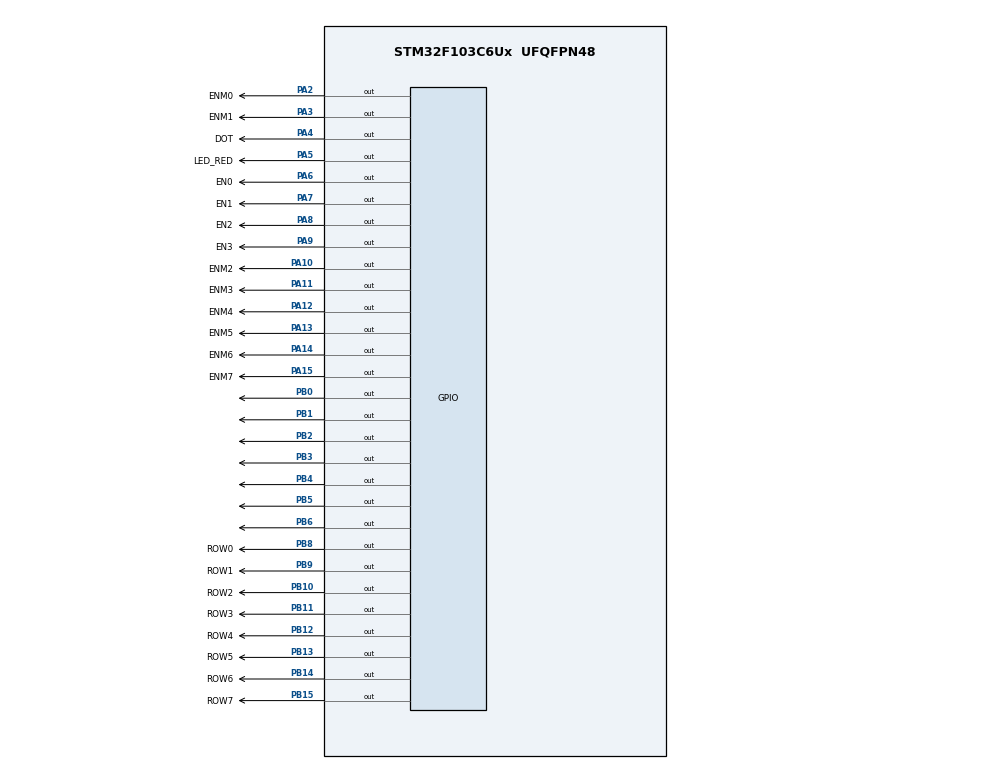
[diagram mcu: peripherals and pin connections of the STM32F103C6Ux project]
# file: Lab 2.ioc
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Mcu.Family=STM32F1
Mcu.Name=STM32F103C6Ux
Mcu.Package=UFQFPN48
NVIC.PriorityGroup=NVIC_PRIORITYGROUP_4
NVIC.TIM2_IRQn=true\:0\:0\:false\:false\:true\:true\:true\:true
PA10.GPIO_Label=ENM2
PA10.Signal=GPIO_Output
PA11.GPIO_Label=ENM3
PA11.Signal=GPIO_Output
PA12.GPIO_Label=ENM4
PA12.Signal=GPIO_Output
PA13.GPIO_Label=ENM5
PA13.Signal=GPIO_Output
PA14.GPIO_Label=ENM6
PA14.Signal=GPIO_Output
PA15.GPIO_Label=ENM7
PA15.Signal=GPIO_Output
PA2.GPIO_Label=ENM0
PA2.Signal=GPIO_Output
PA3.GPIO_Label=ENM1
PA3.Signal=GPIO_Output
PA4.GPIO_Label=DOT
PA4.Signal=GPIO_Output
PA5.GPIO_Label=LED_RED
PA5.Signal=GPIO_Output
PA6.GPIO_Label=EN0
PA6.Signal=GPIO_Output
PA7.GPIO_Label=EN1
PA7.Signal=GPIO_Output
PA8.GPIO_Label=EN2
PA8.Signal=GPIO_Output
PA9.GPIO_Label=EN3
PA9.Signal=GPIO_Output
PB0.Signal=GPIO_Output
PB1.Signal=GPIO_Output
PB10.GPIO_Label=ROW2
PB10.Signal=GPIO_Output
PB11.GPIO_Label=ROW3
PB11.Signal=GPIO_Output
PB12.GPIO_Label=ROW4
PB12.Signal=GPIO_Output
PB13.GPIO_Label=ROW5
PB13.Signal=GPIO_Output
PB14.GPIO_Label=ROW6
PB14.Signal=GPIO_Output
PB15.GPIO_Label=ROW7
PB15.Signal=GPIO_Output
PB2.Signal=GPIO_Output
PB3.Signal=GPIO_Output
PB4.Signal=GPIO_Output
PB5.Signal=GPIO_Output
PB6.Signal=GPIO_Output
PB8.GPIO_Label=ROW0
PB8.Signal=GPIO_Output
PB9.GPIO_Label=ROW1
PB9.Signal=GPIO_Output
ProjectManager.HeapSize=0x200
ProjectManager.StackSize=0x400
ProjectManager.TargetToolchain=STM32CubeIDE
RCC.APB1Freq_Value=8000000
RCC.APB2Freq_Value=8000000
TIM2.Period=9
TIM2.Prescaler=7999
VP_TIM2_VS_ClockSourceINT.Mode=Internal
board=custom

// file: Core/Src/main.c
/* USER CODE BEGIN Header */
/**
  ******************************************************************************
  * @file           : main.c
  * @brief          : Main program body
  ******************************************************************************
  * @attention
  *
  * Copyright (c) 2022 STMicroelectronics.
  * All rights reserved.
  *
  * This software is licensed under terms that can be found in the LICENSE file
  * in the root directory of this software component.
  * If no LICENSE file comes with this software, it is provided AS-IS.
  *
  ******************************************************************************
  */
/* USER CODE END Header */
#include "main.h"

TIM_HandleTypeDef htim2;

void SystemClock_Config(void);
static void MX_GPIO_Init(void);
static void MX_TIM2_Init(void);
/* USER CODE BEGIN PFP */
void display7SEG(int num);
void update7SEG(int index);
void updateClockBuffer(int hour, int minute);
void updateLEDMatrix(int index, int animation_slide);
/* USER CODE END PFP */

/* USER CODE BEGIN 0 */
int TIMER_CYCLE = 10;

int timer0_counter = 0;
int timer0_flag = 0;
void setTimer0 ( int duration ) {
	timer0_counter = duration / TIMER_CYCLE ;
	timer0_flag = 0;
}

int timer_DOT_counter = 0;
int timer_DOT_flag = 0;
void setTimerDOT ( int duration ) {
	timer_DOT_counter = duration / TIMER_CYCLE ;
	timer_DOT_flag = 0;
}

int timer_clock_counter = 0;
int timer_clock_flag = 0;
void setTimerClock ( int duration ) {
	timer_clock_counter = duration / TIMER_CYCLE ;
	timer_clock_flag = 0;
}

int timer_7SEG_counter = 0;
int timer_7SEG_flag = 0;
void setTimer7SEG ( int duration ) {
	timer_7SEG_counter = duration / TIMER_CYCLE ;
	timer_7SEG_flag = 0;
}

int timer_led_matrix_counter = 0;
int timer_led_matrix_flag = 0;
void setTimerLEDMatrix(int duration){
	timer_led_matrix_counter = duration / TIMER_CYCLE;
	timer_led_matrix_flag = 0;
}

void timer_run () {
	if( timer0_counter > 0) {
		timer0_counter --;
		if( timer0_counter == 0) timer0_flag = 1;
	}

	if( timer_DOT_counter > 0) {
		timer_DOT_counter --;
		if( timer_DOT_counter == 0) timer_DOT_flag = 1;
	}

	if( timer_clock_counter > 0) {
		timer_clock_counter --;
		if( timer_clock_counter == 0) timer_clock_flag = 1;
	}

	if( timer_7SEG_counter > 0) {
		timer_7SEG_counter --;
		if( timer_7SEG_counter == 0) timer_7SEG_flag = 1;
	}

	if( timer_led_matrix_counter > 0) {
		timer_led_matrix_counter --;
		if( timer_led_matrix_counter == 0) timer_led_matrix_flag = 1;
	}
}

/* USER CODE END 0 */

int main(void)
{

  /* MCU Configuration--------------------------------------------------------*/

  /* Reset of all peripherals, Initializes the Flash interface and the Systick. */
  HAL_Init();

  /* Configure the system clock */
  SystemClock_Config();

  /* Initialize all configured peripherals */
  MX_GPIO_Init();
  MX_TIM2_Init();
  /* USER CODE BEGIN 2 */
  HAL_TIM_Base_Start_IT(&htim2);
  /* USER CODE END 2 */

  /* Infinite loop */
  /* USER CODE BEGIN WHILE */
  setTimer0(1000);
  setTimerDOT(1000);

  int hour = 15 , minute = 8 , second = 50;
  updateClockBuffer(hour, minute);
  setTimerClock(1000);

  const int MAX_LED = 4;
  int index_led = 0;
  setTimer7SEG(1000 / MAX_LED);

  const int MAX_LED_MATRIX = 8;
  int index_led_matrix = 0;
  setTimerLEDMatrix(500 / MAX_LED_MATRIX);
  int animation_slide = 0;

  while (1)
  {
		if (timer0_flag == 1) {
			HAL_GPIO_TogglePin(LED_RED_GPIO_Port, LED_RED_Pin);
			setTimer0(2000);
		}
		if (timer_DOT_flag == 1) {
			HAL_GPIO_TogglePin(DOT_GPIO_Port, DOT_Pin);
			setTimerDOT(1000);
		}
		if (timer_clock_flag == 1) {
			second ++;
			if ( second >= 60) {
			   second = 0;
			   minute ++;
			}
			if( minute >= 60) {
			   minute = 0;
			   hour ++;
			}
			if( hour >=24) {
			   hour = 0;
			}
			updateClockBuffer(hour, minute);

			setTimerClock(1000);
		}
		if (timer_7SEG_flag == 1) {
			if (index_led >= MAX_LED) index_led = 0;
			update7SEG(index_led++);
			setTimer7SEG(1000 / MAX_LED);
		}
		if (timer_led_matrix_flag == 1){
			if (index_led_matrix >= MAX_LED_MATRIX){
				index_led_matrix = 0;
				animation_slide++;
			}
			if (animation_slide >= MAX_LED_MATRIX)
				animation_slide = -MAX_LED_MATRIX;

			updateLEDMatrix(index_led_matrix, animation_slide);
			index_led_matrix++;
			setTimerLEDMatrix(500 / MAX_LED_MATRIX);
		}

    /* USER CODE END WHILE */

  }
}

void SystemClock_Config(void)
{
  RCC_OscInitTypeDef RCC_OscInitStruct = {0};
  RCC_ClkInitTypeDef RCC_ClkInitStruct = {0};

  /** Initializes the RCC Oscillators according to the specified parameters
  * in the RCC_OscInitTypeDef structure.
  */
  RCC_OscInitStruct.OscillatorType = RCC_OSCILLATORTYPE_HSI;
  RCC_OscInitStruct.HSIState = RCC_HSI_ON;
  RCC_OscInitStruct.HSICalibrationValue = RCC_HSICALIBRATION_DEFAULT;
  RCC_OscInitStruct.PLL.PLLState = RCC_PLL_NONE;
  if (HAL_RCC_OscConfig(&RCC_OscInitStruct) != HAL_OK)
  {
    Error_Handler();
  }

  /** Initializes the CPU, AHB and APB buses clocks
  */
  RCC_ClkInitStruct.ClockType = RCC_CLOCKTYPE_HCLK|RCC_CLOCKTYPE_SYSCLK
                              |RCC_CLOCKTYPE_PCLK1|RCC_CLOCKTYPE_PCLK2;
  RCC_ClkInitStruct.SYSCLKSource = RCC_SYSCLKSOURCE_HSI;
  RCC_ClkInitStruct.AHBCLKDivider = RCC_SYSCLK_DIV1;
  RCC_ClkInitStruct.APB1CLKDivider = RCC_HCLK_DIV1;
  RCC_ClkInitStruct.APB2CLKDivider = RCC_HCLK_DIV1;

  if (HAL_RCC_ClockConfig(&RCC_ClkInitStruct, FLASH_LATENCY_0) != HAL_OK)
  {
    Error_Handler();
  }
}

static void MX_TIM2_Init(void)
{

  TIM_ClockConfigTypeDef sClockSourceConfig = {0};
  TIM_MasterConfigTypeDef sMasterConfig = {0};

  htim2.Instance = TIM2;
  htim2.Init.Prescaler = 7999;
  htim2.Init.CounterMode = TIM_COUNTERMODE_UP;
  htim2.Init.Period = 9;
  htim2.Init.ClockDivision = TIM_CLOCKDIVISION_DIV1;
  htim2.Init.AutoReloadPreload = TIM_AUTORELOAD_PRELOAD_DISABLE;
  if (HAL_TIM_Base_Init(&htim2) != HAL_OK)
  {
    Error_Handler();
  }
  sClockSourceConfig.ClockSource = TIM_CLOCKSOURCE_INTERNAL;
  if (HAL_TIM_ConfigClockSource(&htim2, &sClockSourceConfig) != HAL_OK)
  {
    Error_Handler();
  }
  sMasterConfig.MasterOutputTrigger = TIM_TRGO_RESET;
  sMasterConfig.MasterSlaveMode = TIM_MASTERSLAVEMODE_DISABLE;
  if (HAL_TIMEx_MasterConfigSynchronization(&htim2, &sMasterConfig) != HAL_OK)
  {
    Error_Handler();
  }

}

static void MX_GPIO_Init(void)
{
  GPIO_InitTypeDef GPIO_InitStruct = {0};

  /* GPIO Ports Clock Enable */
  __HAL_RCC_GPIOA_CLK_ENABLE();
  __HAL_RCC_GPIOB_CLK_ENABLE();

  /*Configure GPIO pin Output Level */
  HAL_GPIO_WritePin(GPIOA, ENM0_Pin|ENM1_Pin|DOT_Pin|LED_RED_Pin
                          |EN0_Pin|EN1_Pin|EN2_Pin|EN3_Pin
                          |ENM2_Pin|ENM3_Pin|ENM4_Pin|ENM5_Pin
                          |ENM6_Pin|ENM7_Pin, GPIO_PIN_RESET);

  /*Configure GPIO pin Output Level */
  HAL_GPIO_WritePin(GPIOB, GPIO_PIN_0|GPIO_PIN_1|GPIO_PIN_2|ROW2_Pin
                          |ROW3_Pin|ROW4_Pin|ROW5_Pin|ROW6_Pin
                          |ROW7_Pin|GPIO_PIN_3|GPIO_PIN_4|GPIO_PIN_5
                          |GPIO_PIN_6|ROW0_Pin|ROW1_Pin, GPIO_PIN_RESET);

  /*Configure GPIO pins : ENM0_Pin ENM1_Pin DOT_Pin LED_RED_Pin
                           EN0_Pin EN1_Pin EN2_Pin EN3_Pin
                           ENM2_Pin ENM3_Pin ENM4_Pin ENM5_Pin
                           ENM6_Pin ENM7_Pin */
  GPIO_InitStruct.Pin = ENM0_Pin|ENM1_Pin|DOT_Pin|LED_RED_Pin
                          |EN0_Pin|EN1_Pin|EN2_Pin|EN3_Pin
                          |ENM2_Pin|ENM3_Pin|ENM4_Pin|ENM5_Pin
                          |ENM6_Pin|ENM7_Pin;
  GPIO_InitStruct.Mode = GPIO_MODE_OUTPUT_PP;
  GPIO_InitStruct.Pull = GPIO_NOPULL;
  GPIO_InitStruct.Speed = GPIO_SPEED_FREQ_LOW;
  HAL_GPIO_Init(GPIOA, &GPIO_InitStruct);

  /*Configure GPIO pins : PB0 PB1 PB2 ROW2_Pin
                           ROW3_Pin ROW4_Pin ROW5_Pin ROW6_Pin
                           ROW7_Pin PB3 PB4 PB5
                           PB6 ROW0_Pin ROW1_Pin */
  GPIO_InitStruct.Pin = GPIO_PIN_0|GPIO_PIN_1|GPIO_PIN_2|ROW2_Pin
                          |ROW3_Pin|ROW4_Pin|ROW5_Pin|ROW6_Pin
                          |ROW7_Pin|GPIO_PIN_3|GPIO_PIN_4|GPIO_PIN_5
                          |GPIO_PIN_6|ROW0_Pin|ROW1_Pin;
  GPIO_InitStruct.Mode = GPIO_MODE_OUTPUT_PP;
  GPIO_InitStruct.Pull = GPIO_NOPULL;
  GPIO_InitStruct.Speed = GPIO_SPEED_FREQ_LOW;
  HAL_GPIO_Init(GPIOB, &GPIO_InitStruct);

}

/* USER CODE BEGIN 4 */
void HAL_TIM_PeriodElapsedCallback(TIM_HandleTypeDef *htim){
	timer_run();
}

int led_buffer[4] = {8, 8, 8, 8};
void updateClockBuffer(int hour, int minute){
	led_buffer[0] = hour / 10;
	led_buffer[1] = hour % 10;
	led_buffer[2] = minute / 10;
	led_buffer[3] = minute % 10;
}

void update7SEG(int index){
	switch (index){
	case 0:
		HAL_GPIO_WritePin(EN0_GPIO_Port, EN0_Pin, RESET);
		HAL_GPIO_WritePin(EN1_GPIO_Port, EN1_Pin, SET);
		HAL_GPIO_WritePin(EN2_GPIO_Port, EN2_Pin, SET);
		HAL_GPIO_WritePin(EN3_GPIO_Port, EN3_Pin, SET);
		display7SEG(led_buffer[0]);

		break;
	case 1:
		HAL_GPIO_WritePin(EN0_GPIO_Port, EN0_Pin, SET);
		HAL_GPIO_WritePin(EN1_GPIO_Port, EN1_Pin, RESET);
		HAL_GPIO_WritePin(EN2_GPIO_Port, EN2_Pin, SET);
		HAL_GPIO_WritePin(EN3_GPIO_Port, EN3_Pin, SET);
		display7SEG(led_buffer[1]);

		break;
	case 2:
		HAL_GPIO_WritePin(EN0_GPIO_Port, EN0_Pin, SET);
		HAL_GPIO_WritePin(EN1_GPIO_Port, EN1_Pin, SET);
		HAL_GPIO_WritePin(EN2_GPIO_Port, EN2_Pin, RESET);
		HAL_GPIO_WritePin(EN3_GPIO_Port, EN3_Pin, SET);
		display7SEG(led_buffer[2]);

		break;
	case 3:
		HAL_GPIO_WritePin(EN0_GPIO_Port, EN0_Pin, SET);
		HAL_GPIO_WritePin(EN1_GPIO_Port, EN1_Pin, SET);
		HAL_GPIO_WritePin(EN2_GPIO_Port, EN2_Pin, SET);
		HAL_GPIO_WritePin(EN3_GPIO_Port, EN3_Pin, RESET);
		display7SEG(led_buffer[3]);

		break;
	default:
		break;
	}
}

void display7SEG(int num)
{
	HAL_GPIO_WritePin(GPIOB, GPIO_PIN_0|GPIO_PIN_1|GPIO_PIN_2|GPIO_PIN_3|GPIO_PIN_4|GPIO_PIN_5|GPIO_PIN_6|GPIO_PIN_7, SET);

	switch(num){
	case 0:
		HAL_GPIO_WritePin(GPIOB, GPIO_PIN_0, RESET);
		HAL_GPIO_WritePin(GPIOB, GPIO_PIN_1, RESET);
		HAL_GPIO_WritePin(GPIOB, GPIO_PIN_2, RESET);
		HAL_GPIO_WritePin(GPIOB, GPIO_PIN_3, RESET);
		HAL_GPIO_WritePin(GPIOB, GPIO_PIN_4, RESET);
		HAL_GPIO_WritePin(GPIOB, GPIO_PIN_5, RESET);
		break;
	case 1:
		HAL_GPIO_WritePin(GPIOB, GPIO_PIN_1, RESET);
		HAL_GPIO_WritePin(GPIOB, GPIO_PIN_2, RESET);
		break;
	case 2:
		HAL_GPIO_WritePin(GPIOB, GPIO_PIN_0, RESET);
		HAL_GPIO_WritePin(GPIOB, GPIO_PIN_1, RESET);
		HAL_GPIO_WritePin(GPIOB, GPIO_PIN_3, RESET);
		HAL_GPIO_WritePin(GPIOB, GPIO_PIN_4, RESET);
		HAL_GPIO_WritePin(GPIOB, GPIO_PIN_6, RESET);
		break;
	case 3:
		HAL_GPIO_WritePin(GPIOB, GPIO_PIN_0, RESET);
		HAL_GPIO_WritePin(GPIOB, GPIO_PIN_1, RESET);
		HAL_GPIO_WritePin(GPIOB, GPIO_PIN_2, RESET);
		HAL_GPIO_WritePin(GPIOB, GPIO_PIN_3, RESET);
		HAL_GPIO_WritePin(GPIOB, GPIO_PIN_6, RESET);
		break;
	case 4:
		HAL_GPIO_WritePin(GPIOB, GPIO_PIN_1, RESET);
		HAL_GPIO_WritePin(GPIOB, GPIO_PIN_2, RESET);
		HAL_GPIO_WritePin(GPIOB, GPIO_PIN_5, RESET);
		HAL_GPIO_WritePin(GPIOB, GPIO_PIN_6, RESET);
		break;
	case 5:
		HAL_GPIO_WritePin(GPIOB, GPIO_PIN_0, RESET);
		HAL_GPIO_WritePin(GPIOB, GPIO_PIN_2, RESET);
		HAL_GPIO_WritePin(GPIOB, GPIO_PIN_3, RESET);
		HAL_GPIO_WritePin(GPIOB, GPIO_PIN_5, RESET);
		HAL_GPIO_WritePin(GPIOB, GPIO_PIN_6, RESET);
		break;
	case 6:
		HAL_GPIO_WritePin(GPIOB, GPIO_PIN_0, RESET);
		HAL_GPIO_WritePin(GPIOB, GPIO_PIN_2, RESET);
		HAL_GPIO_WritePin(GPIOB, GPIO_PIN_3, RESET);
		HAL_GPIO_WritePin(GPIOB, GPIO_PIN_4, RESET);
		HAL_GPIO_WritePin(GPIOB, GPIO_PIN_5, RESET);
		HAL_GPIO_WritePin(GPIOB, GPIO_PIN_6, RESET);
		break;
	case 7:
		HAL_GPIO_WritePin(GPIOB, GPIO_PIN_0, RESET);
		HAL_GPIO_WritePin(GPIOB, GPIO_PIN_1, RESET);
		HAL_GPIO_WritePin(GPIOB, GPIO_PIN_2, RESET);
		break;
	case 8:
		HAL_GPIO_WritePin(GPIOB, GPIO_PIN_0, RESET);
		HAL_GPIO_WritePin(GPIOB, GPIO_PIN_1, RESET);
		HAL_GPIO_WritePin(GPIOB, GPIO_PIN_2, RESET);
		HAL_GPIO_WritePin(GPIOB, GPIO_PIN_3, RESET);
		HAL_GPIO_WritePin(GPIOB, GPIO_PIN_4, RESET);
		HAL_GPIO_WritePin(GPIOB, GPIO_PIN_5, RESET);
		HAL_GPIO_WritePin(GPIOB, GPIO_PIN_6, RESET);
		break;
	case 9:
		HAL_GPIO_WritePin(GPIOB, GPIO_PIN_0, RESET);
		HAL_GPIO_WritePin(GPIOB, GPIO_PIN_1, RESET);
		HAL_GPIO_WritePin(GPIOB, GPIO_PIN_2, RESET);
		HAL_GPIO_WritePin(GPIOB, GPIO_PIN_3, RESET);
		HAL_GPIO_WritePin(GPIOB, GPIO_PIN_5, RESET);
		HAL_GPIO_WritePin(GPIOB, GPIO_PIN_6, RESET);
		break;
	}
}

/* matrix_buffer display letter A
 *   01234567
 * 0    oo
 * 1   oooo
 * 2  oo  oo
 * 3  oo  oo
 * 4 oooooooo
 * 5 oooooooo
 * 6 oo    oo
 * 7 oo    oo
 */
uint32_t matrix_buffer[8] = {
		ROW4_Pin|ROW5_Pin|ROW6_Pin|ROW7_Pin,
		ROW2_Pin|ROW3_Pin|ROW4_Pin|ROW5_Pin|ROW6_Pin|ROW7_Pin,
		ROW1_Pin|ROW2_Pin|ROW3_Pin|ROW4_Pin,
		ROW0_Pin|ROW1_Pin|ROW4_Pin|ROW5_Pin,
		ROW0_Pin|ROW1_Pin|ROW4_Pin|ROW5_Pin,
		ROW1_Pin|ROW2_Pin|ROW3_Pin|ROW4_Pin,
		ROW2_Pin|ROW3_Pin|ROW4_Pin|ROW5_Pin|ROW6_Pin|ROW7_Pin,
		ROW4_Pin|ROW5_Pin|ROW6_Pin|ROW7_Pin
};
void updateLEDMatrix (int index, int animation_slide) {
	/*
	 * Display letter A
	 * animation_slide: number of columns letter A moves to left
	 */
	HAL_GPIO_WritePin(ROW0_GPIO_Port, ROW0_Pin, SET);
	HAL_GPIO_WritePin(ROW1_GPIO_Port, ROW1_Pin, SET);
	HAL_GPIO_WritePin(ROW2_GPIO_Port, ROW2_Pin, SET);
	HAL_GPIO_WritePin(ROW3_GPIO_Port, ROW3_Pin, SET);
	HAL_GPIO_WritePin(ROW4_GPIO_Port, ROW4_Pin, SET);
	HAL_GPIO_WritePin(ROW5_GPIO_Port, ROW5_Pin, SET);
	HAL_GPIO_WritePin(ROW6_GPIO_Port, ROW6_Pin, SET);
	HAL_GPIO_WritePin(ROW7_GPIO_Port, ROW7_Pin, SET);

	HAL_GPIO_WritePin(ENM0_GPIO_Port, ENM0_Pin, SET);
	HAL_GPIO_WritePin(ENM1_GPIO_Port, ENM1_Pin, SET);
	HAL_GPIO_WritePin(ENM2_GPIO_Port, ENM2_Pin, SET);
	HAL_GPIO_WritePin(ENM3_GPIO_Port, ENM3_Pin, SET);
	HAL_GPIO_WritePin(ENM4_GPIO_Port, ENM4_Pin, SET);
	HAL_GPIO_WritePin(ENM5_GPIO_Port, ENM5_Pin, SET);
	HAL_GPIO_WritePin(ENM6_GPIO_Port, ENM6_Pin, SET);
	HAL_GPIO_WritePin(ENM7_GPIO_Port, ENM7_Pin, SET);

	switch(index - animation_slide){ // move to left animation_slide cols
	case 0:
		HAL_GPIO_WritePin(ENM0_GPIO_Port, ENM0_Pin, RESET);
		break;
	case 1:
		HAL_GPIO_WritePin(ENM0_GPIO_Port, ENM1_Pin, RESET);
		break;
	case 2:
		HAL_GPIO_WritePin(ENM0_GPIO_Port, ENM2_Pin, RESET);
		break;
	case 3:
		HAL_GPIO_WritePin(ENM0_GPIO_Port, ENM3_Pin, RESET);
		break;
	case 4:
		HAL_GPIO_WritePin(ENM0_GPIO_Port, ENM4_Pin, RESET);
		break;
	case 5:
		HAL_GPIO_WritePin(ENM0_GPIO_Port, ENM5_Pin, RESET);
		break;
	case 6:
		HAL_GPIO_WritePin(ENM0_GPIO_Port, ENM6_Pin, RESET);
		break;
	case 7:
		HAL_GPIO_WritePin(ENM0_GPIO_Port, ENM7_Pin, RESET);
		break;
	default:
		break;
	}

	HAL_GPIO_WritePin(GPIOB, matrix_buffer[index], RESET);
}
/* USER CODE END 4 */

void Error_Handler(void)
{
  __disable_irq();
  while (1)
  {
  }
}
